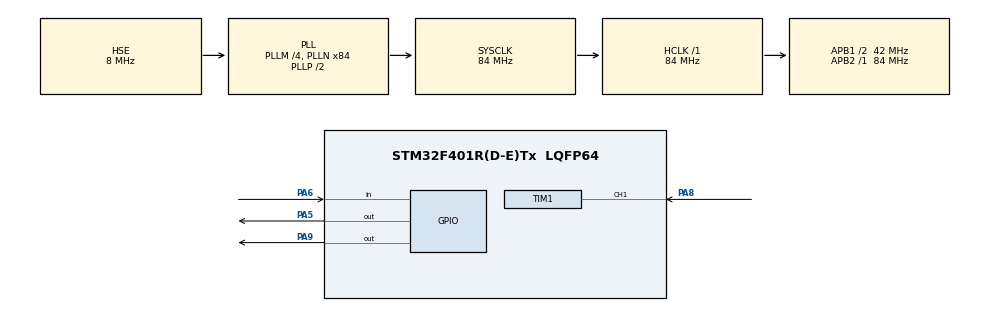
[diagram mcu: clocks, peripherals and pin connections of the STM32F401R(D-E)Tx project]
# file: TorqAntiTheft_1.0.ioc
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Mcu.Family=STM32F4
Mcu.Name=STM32F401R(D-E)Tx
Mcu.Package=LQFP64
NVIC.PriorityGroup=NVIC_PRIORITYGROUP_0
NVIC.TIM1_CC_IRQn=true\:0\:0\:false\:false\:true\:true\:true\:true
PA5.Signal=GPIO_Output
PA6.Signal=GPIO_Input
PA8.Signal=S_TIM1_CH1
PA9.Signal=GPIO_Output
PB8.Signal=I2C1_SCL
PH0\ -\ OSC_IN.Mode=HSE-External-Oscillator
PH0\ -\ OSC_IN.Signal=RCC_OSC_IN
PH1\ -\ OSC_OUT.Mode=HSE-External-Oscillator
PH1\ -\ OSC_OUT.Signal=RCC_OSC_OUT
ProjectManager.HeapSize=0x200
ProjectManager.StackSize=0x400
ProjectManager.TargetToolchain=STM32CubeIDE
RCC.48MHZClocksFreq_Value=24000000
RCC.AHBFreq_Value=84000000
RCC.APB1CLKDivider=RCC_HCLK_DIV2
RCC.APB1Freq_Value=42000000
RCC.APB1TimFreq_Value=84000000
RCC.APB2Freq_Value=84000000
RCC.APB2TimFreq_Value=84000000
RCC.CortexFreq_Value=84000000
RCC.HCLKFreq_Value=84000000
RCC.HSE_VALUE=8000000
RCC.HSI_VALUE=16000000
RCC.LSE_VALUE=32768
RCC.PLLM=4
RCC.PLLN=84
RCC.PLLQ=7
RCC.PLLSourceVirtual=RCC_PLLSOURCE_HSE
RCC.SYSCLKFreq_VALUE=84000000
RCC.SYSCLKSource=RCC_SYSCLKSOURCE_PLLCLK
RCC.VCOOutputFreq_Value=168000000
SH.S_TIM1_CH1.0=TIM1_CH1,Input_Capture1_from_TI1
TIM1.Channel-Input_Capture1_from_TI1=TIM_CHANNEL_1
TIM1.Period=0xffff-1
TIM1.Prescaler=83
VP_TIM1_VS_ClockSourceINT.Mode=Internal
board=NUCLEO-F401RE

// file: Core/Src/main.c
/* USER CODE BEGIN Header */
/**
  ******************************************************************************
  * @file           : main.c
  * @brief          : Main program body
  ******************************************************************************
  * @attention
  *
  * Copyright (c) 2023 STMicroelectronics.
  * All rights reserved.
  *
  * This software is licensed under terms that can be found in the LICENSE file
  * in the root directory of this software component.
  * If no LICENSE file comes with this software, it is provided AS-IS.
  *
  ******************************************************************************
  */
/* USER CODE END Header */
#include "main.h"

/* USER CODE BEGIN Includes */
#include "stdio.h"
#include "unistd.h"
/* USER CODE END Includes */

TIM_HandleTypeDef htim1;

void SystemClock_Config(void);
static void MX_GPIO_Init(void);
static void MX_TIM1_Init(void);

/* USER CODE BEGIN 0 */
void delay (uint16_t time)
{
	__HAL_TIM_SET_COUNTER(&htim1, 0);
	while (__HAL_TIM_GET_COUNTER (&htim1) < time);
}

uint32_t IC_Val1 = 0;
uint32_t IC_Val2 = 0;
uint32_t Difference = 0;
uint8_t Is_First_Captured = 0;  // is the first value captured ?
float Distance  = 0;
#define TRIG_PIN GPIO_PIN_9
#define TRIG_PORT GPIOA

// Let's write the callback function

void HAL_TIM_IC_CaptureCallback(TIM_HandleTypeDef *htim)
{
	if (htim->Channel == HAL_TIM_ACTIVE_CHANNEL_1)  // if the interrupt source is channel1
	{
		if (Is_First_Captured==0) // if the first value is not captured
		{
			IC_Val1 = HAL_TIM_ReadCapturedValue(htim, TIM_CHANNEL_1); // read the first value
			Is_First_Captured = 1;  // set the first captured as true
			// Now change the polarity to falling edge
			__HAL_TIM_SET_CAPTUREPOLARITY(htim, TIM_CHANNEL_1, TIM_INPUTCHANNELPOLARITY_FALLING);
		}

		else if (Is_First_Captured==1)   // if the first is already captured
		{
			IC_Val2 = HAL_TIM_ReadCapturedValue(htim, TIM_CHANNEL_1);  // read second value
			__HAL_TIM_SET_COUNTER(htim, 0);  // reset the counter

			if (IC_Val2 > IC_Val1)
			{
				Difference = IC_Val2-IC_Val1;
			}

			else if (IC_Val1 > IC_Val2)
			{
				Difference = (0xffff - IC_Val1) + IC_Val2;
			}

			Distance = (float)Difference * .034/2.0f;
			Is_First_Captured = 0; // set it back to false

			// set polarity to rising edge
			__HAL_TIM_SET_CAPTUREPOLARITY(htim, TIM_CHANNEL_1, TIM_INPUTCHANNELPOLARITY_RISING);
			__HAL_TIM_DISABLE_IT(&htim1, TIM_IT_CC1);
		}
	}
}

void HCSR04_Read (void)
{
	HAL_GPIO_WritePin(TRIG_PORT, TRIG_PIN, GPIO_PIN_SET);  // pull the TRIG pin HIGH
	delay(10);  // wait for 10 us
	HAL_GPIO_WritePin(TRIG_PORT, TRIG_PIN, GPIO_PIN_RESET);  // pull the TRIG pin low

	__HAL_TIM_ENABLE_IT(&htim1, TIM_IT_CC1);

}

/* USER CODE END 0 */

int main(void)
{

  /* MCU Configuration--------------------------------------------------------*/

  /* Reset of all peripherals, Initializes the Flash interface and the Systick. */
  HAL_Init();

  /* Configure the system clock */
  SystemClock_Config();

  /* Initialize all configured peripherals */
  MX_GPIO_Init();
  MX_TIM1_Init();
  /* USER CODE BEGIN 2 */
  HAL_TIM_IC_Start_IT(&htim1, TIM_CHANNEL_1);
  uint8_t movement_detected = 0;
  /* USER CODE END 2 */

  /* Infinite loop */
  while (1)
  {

    /* USER CODE BEGIN 3 */
	  HCSR04_Read();

	  HAL_Delay(10);

	  if (Distance > 10) // pulsante premuto
	  		  {
	  				  HAL_GPIO_WritePin(GPIOA, GPIO_PIN_5, GPIO_PIN_SET); // Imposta PA5 alto
	  				  movement_detected = 1; // Segnala che il movimento è stato rilevato

	  		  }
	  else {
		  movement_detected=0;
	  }

	  		  // Controlla il segnale di conferma da Raspberry Pi
	  		  if (movement_detected && HAL_GPIO_ReadPin(GPIOA, GPIO_PIN_6) == GPIO_PIN_SET) // Conferma ricevuta
	  		  {
	  			  HAL_GPIO_WritePin(GPIOA, GPIO_PIN_5, GPIO_PIN_RESET); // Imposta PA5 basso
	  			  movement_detected = 0; // Resetta lo stato
	  		  }

  }
  /* USER CODE END 3 */
}

void SystemClock_Config(void)
{
  RCC_OscInitTypeDef RCC_OscInitStruct = {0};
  RCC_ClkInitTypeDef RCC_ClkInitStruct = {0};

  /** Configure the main internal regulator output voltage
  */
  __HAL_RCC_PWR_CLK_ENABLE();
  __HAL_PWR_VOLTAGESCALING_CONFIG(PWR_REGULATOR_VOLTAGE_SCALE2);

  /** Initializes the RCC Oscillators according to the specified parameters
  * in the RCC_OscInitTypeDef structure.
  */
  RCC_OscInitStruct.OscillatorType = RCC_OSCILLATORTYPE_HSE;
  RCC_OscInitStruct.HSEState = RCC_HSE_ON;
  RCC_OscInitStruct.PLL.PLLState = RCC_PLL_ON;
  RCC_OscInitStruct.PLL.PLLSource = RCC_PLLSOURCE_HSE;
  RCC_OscInitStruct.PLL.PLLM = 4;
  RCC_OscInitStruct.PLL.PLLN = 84;
  RCC_OscInitStruct.PLL.PLLP = RCC_PLLP_DIV2;
  RCC_OscInitStruct.PLL.PLLQ = 7;
  if (HAL_RCC_OscConfig(&RCC_OscInitStruct) != HAL_OK)
  {
    Error_Handler();
  }

  /** Initializes the CPU, AHB and APB buses clocks
  */
  RCC_ClkInitStruct.ClockType = RCC_CLOCKTYPE_HCLK|RCC_CLOCKTYPE_SYSCLK
                              |RCC_CLOCKTYPE_PCLK1|RCC_CLOCKTYPE_PCLK2;
  RCC_ClkInitStruct.SYSCLKSource = RCC_SYSCLKSOURCE_PLLCLK;
  RCC_ClkInitStruct.AHBCLKDivider = RCC_SYSCLK_DIV1;
  RCC_ClkInitStruct.APB1CLKDivider = RCC_HCLK_DIV2;
  RCC_ClkInitStruct.APB2CLKDivider = RCC_HCLK_DIV1;

  if (HAL_RCC_ClockConfig(&RCC_ClkInitStruct, FLASH_LATENCY_2) != HAL_OK)
  {
    Error_Handler();
  }
}

static void MX_TIM1_Init(void)
{

  TIM_ClockConfigTypeDef sClockSourceConfig = {0};
  TIM_MasterConfigTypeDef sMasterConfig = {0};
  TIM_IC_InitTypeDef sConfigIC = {0};

  htim1.Instance = TIM1;
  htim1.Init.Prescaler = 83;
  htim1.Init.CounterMode = TIM_COUNTERMODE_UP;
  htim1.Init.Period = 0xffff-1;
  htim1.Init.ClockDivision = TIM_CLOCKDIVISION_DIV1;
  htim1.Init.RepetitionCounter = 0;
  htim1.Init.AutoReloadPreload = TIM_AUTORELOAD_PRELOAD_DISABLE;
  if (HAL_TIM_Base_Init(&htim1) != HAL_OK)
  {
    Error_Handler();
  }
  sClockSourceConfig.ClockSource = TIM_CLOCKSOURCE_INTERNAL;
  if (HAL_TIM_ConfigClockSource(&htim1, &sClockSourceConfig) != HAL_OK)
  {
    Error_Handler();
  }
  if (HAL_TIM_IC_Init(&htim1) != HAL_OK)
  {
    Error_Handler();
  }
  sMasterConfig.MasterOutputTrigger = TIM_TRGO_RESET;
  sMasterConfig.MasterSlaveMode = TIM_MASTERSLAVEMODE_DISABLE;
  if (HAL_TIMEx_MasterConfigSynchronization(&htim1, &sMasterConfig) != HAL_OK)
  {
    Error_Handler();
  }
  sConfigIC.ICPolarity = TIM_INPUTCHANNELPOLARITY_RISING;
  sConfigIC.ICSelection = TIM_ICSELECTION_DIRECTTI;
  sConfigIC.ICPrescaler = TIM_ICPSC_DIV1;
  sConfigIC.ICFilter = 0;
  if (HAL_TIM_IC_ConfigChannel(&htim1, &sConfigIC, TIM_CHANNEL_1) != HAL_OK)
  {
    Error_Handler();
  }

}

static void MX_GPIO_Init(void)
{
  GPIO_InitTypeDef GPIO_InitStruct = {0};

  /* GPIO Ports Clock Enable */
  __HAL_RCC_GPIOH_CLK_ENABLE();
  __HAL_RCC_GPIOA_CLK_ENABLE();
  __HAL_RCC_GPIOB_CLK_ENABLE();

  /*Configure GPIO pin Output Level */
  HAL_GPIO_WritePin(GPIOA, GPIO_PIN_5|GPIO_PIN_9, GPIO_PIN_RESET);

  /*Configure GPIO pins : PA5 PA9 */
  GPIO_InitStruct.Pin = GPIO_PIN_5|GPIO_PIN_9;
  GPIO_InitStruct.Mode = GPIO_MODE_OUTPUT_PP;
  GPIO_InitStruct.Pull = GPIO_NOPULL;
  GPIO_InitStruct.Speed = GPIO_SPEED_FREQ_LOW;
  HAL_GPIO_Init(GPIOA, &GPIO_InitStruct);

  /*Configure GPIO pin : PA6 */
  GPIO_InitStruct.Pin = GPIO_PIN_6;
  GPIO_InitStruct.Mode = GPIO_MODE_INPUT;
  GPIO_InitStruct.Pull = GPIO_NOPULL;
  HAL_GPIO_Init(GPIOA, &GPIO_InitStruct);

  /*Configure GPIO pin : PB8 */
  GPIO_InitStruct.Pin = GPIO_PIN_8;
  GPIO_InitStruct.Mode = GPIO_MODE_AF_OD;
  GPIO_InitStruct.Pull = GPIO_NOPULL;
  GPIO_InitStruct.Speed = GPIO_SPEED_FREQ_VERY_HIGH;
  GPIO_InitStruct.Alternate = GPIO_AF4_I2C1;
  HAL_GPIO_Init(GPIOB, &GPIO_InitStruct);

}

void Error_Handler(void)
{
  __disable_irq();
  while (1)
  {
  }
}
